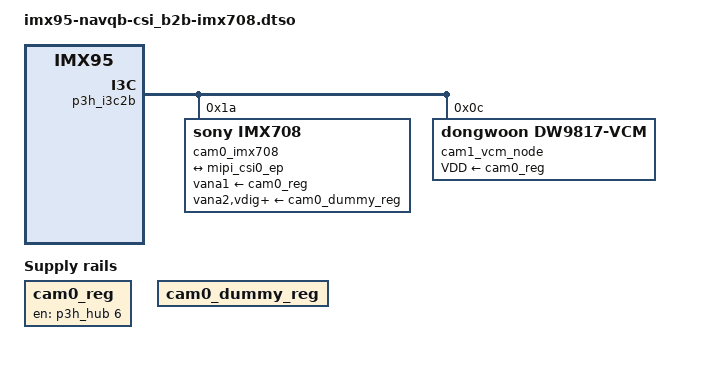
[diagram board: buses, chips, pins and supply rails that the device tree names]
// SPDX-License-Identifier: (GPL-2.0+ OR MIT)
/*
 * Copyright 2026 NXP
 *
 * NavQ-B port A (camera-only connector): Sony IMX708 on MIPI CSI0.
 */

/dts-v1/;
/plugin/;

#include <dt-bindings/gpio/gpio.h>

/*
 * The Raspberry Pi Camera Module 3 (IMX708) carries its own on-board
 * 24 MHz oscillator, so model the sensor input clock as a fixed-clock
 * rather than sourcing it from the SoC cam24m output.
 */
&{/} {
	cam0_imx708_clk: cam0-imx708-clk {
		compatible = "fixed-clock";
		#clock-cells = <0>;
		clock-frequency = <24000000>;
	};

	cam0_reg: cam0_reg {
		compatible = "regulator-fixed";
		regulator-name = "cam0_reg";
		enable-active-high;
		gpio = <&p3h_hub 6 GPIO_ACTIVE_HIGH>;
	};

	cam0_dummy_reg: cam_dummy_reg {
		compatible = "regulator-fixed";
		regulator-name = "cam-dummy-reg";
	};
};

&p3h_i3c2b {
	#address-cells = <1>;
	#size-cells = <0>;

	cam0_imx708: imx708@1a {
		compatible = "sony,imx708";
		reg = <0x1a>;
		clocks = <&cam0_imx708_clk>;
		clock-names = "inclk";

		vana1-supply = <&cam0_reg>;			/* 2.8v */
		vana2-supply = <&cam0_dummy_reg>;	/* 1.8v */
		vdig-supply = <&cam0_dummy_reg>;	/* 1.1v */
		vddl-supply = <&cam0_dummy_reg>;	/* 1.8v */

		lens-focus = <&cam1_vcm_node>;

		rotation = <180>;
		orientation = <2>;
		status = "okay";

		port {
			cam0_sensor_ep: endpoint {
				remote-endpoint = <&mipi_csi0_ep>;
				data-lanes = <1 2>;
				clock-lanes = <0>;
				clock-noncontinous;
				link-frequencies = /bits/ 64 <450000000>;
			};
		};
	};

	cam1_vcm_node: dw9817@c {
		compatible = "dongwoon,dw9817-vcm";
		reg = <0x0c>;
		status = "okay";
		VDD-supply = <&cam0_reg>;
	};
};

#include "imx95-navqb-csi0-pipeline.dtsi"
